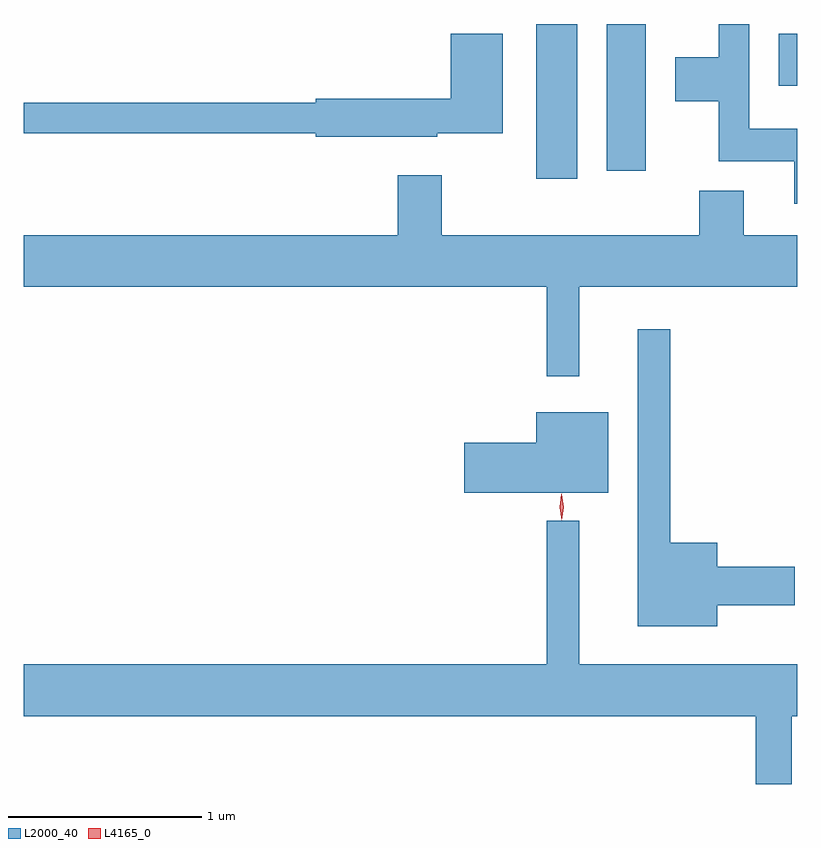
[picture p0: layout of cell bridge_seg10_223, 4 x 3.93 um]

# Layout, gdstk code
import gdstk
lib = gdstk.Library(unit=1e-6, precision=1e-09)
def R(c, l, rs):  # rectangles x0, y0, x1, y1
    for r in rs: c.add(gdstk.rectangle(r[:2], r[2:], *l))
def P(c, l, *ps):  # polygons
    for p in ps: c.add(gdstk.Polygon(p, *l))
L2000_40 = (2000, 40)
L4165_0 = (4165, 0)

bridge_seg10_223 = lib.new_cell('bridge_seg10_223')
R(bridge_seg10_223, L2000_40, [(1797.786,2090.056,1797.999,2090.855), (1798.151,2090.096,1798.354,2090.855), (1799.041,2090.536,1799.137,2090.804)])
P(bridge_seg10_223, L2000_40, [(1799.137,2090.314),(1798.889,2090.314),(1798.889,2090.855),(1798.731,2090.855),(1798.731,2090.684),(1798.506,2090.684),(1798.506,2090.456),(1798.731,2090.456),(1798.731,2090.146),(1799.121,2090.146),(1799.121,2089.926),(1799.137,2089.926)],
  [(1797.274,2090.291),(1797.614,2090.291),(1797.614,2090.804),(1797.346,2090.804),(1797.346,2090.469),(1796.646,2090.469),(1796.646,2090.449),(1795.137,2090.449),(1795.137,2090.291),(1796.646,2090.291),(1796.646,2090.271),(1797.274,2090.271)],
  [(1797.841,2089.033),(1798.009,2089.033),(1798.009,2089.496),(1799.137,2089.496),(1799.137,2089.764),(1798.859,2089.764),(1798.859,2089.994),(1798.631,2089.994),(1798.631,2089.764),(1797.299,2089.764),(1797.299,2090.074),(1797.071,2090.074),(1797.071,2089.764),(1795.137,2089.764),(1795.137,2089.496),(1797.841,2089.496)],
  [(1798.724,2087.851),(1799.124,2087.851),(1799.124,2088.049),(1798.724,2088.049),(1798.724,2088.174),(1798.479,2088.174),(1798.479,2089.278),(1798.311,2089.278),(1798.311,2087.741),(1798.724,2087.741)],
  [(1798.159,2088.849),(1797.786,2088.849),(1797.786,2088.689),(1797.416,2088.689),(1797.416,2088.431),(1798.159,2088.431)],
  [(1799.109,2087.276),(1799.137,2087.276),(1799.137,2087.544),(1798.009,2087.544),(1798.009,2088.288),(1797.841,2088.288),(1797.841,2087.544),(1795.137,2087.544),(1795.137,2087.276),(1798.921,2087.276),(1798.921,2086.926),(1799.109,2086.926)])
P(bridge_seg10_223, L4165_0, [(1797.918,2088.29),(1797.908,2088.358),(1797.917,2088.425),(1797.918,2088.426),(1797.918,2088.425),(1797.928,2088.358),(1797.919,2088.29),(1797.919,2088.29)],
  [(1797.919,2088.293),(1797.918,2088.294),(1797.908,2088.356),(1797.917,2088.419),(1797.917,2088.42),(1797.918,2088.419),(1797.928,2088.356),(1797.919,2088.294)])

lib.write_gds('bridge_seg10_223.gds')
